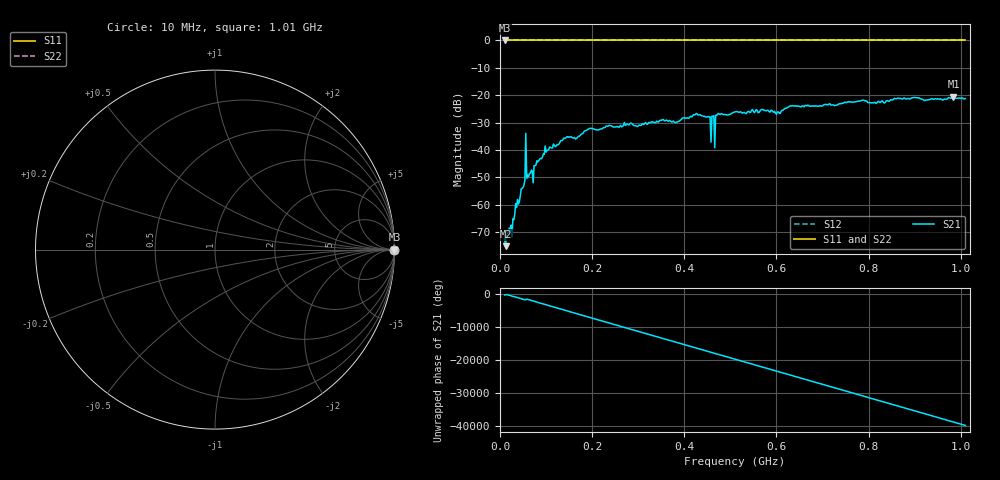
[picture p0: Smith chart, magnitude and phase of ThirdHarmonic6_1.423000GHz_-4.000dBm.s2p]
! 8/16/2025 4:22:06 PM
! C:\ANRITSUVNA\TEMP\TEMP.S2P
! CHANNEL.1
! TR.MEASUREMENT
! RAW.DATA
! RF.CORRECTION.OFF
! AVERAGING.OFF
! IF.BANDWIDTH: 5KHZ
! SWEEPTYPE:  FREQ.SWEEP(Linear)
! Reference Plane Port Info
! PORT:  PORT1  PORT2
! DISTANCE:  0  m  0  m
! TIME:  0  s  0  s
! PHASE.OFFSET:  0  deg.  0  deg.
! LOSS:  0  dB  0  dB
! REF.LOSS:  0  dB  0  dB
! REF.FREQ:  0  Hz  0  Hz
! Power Info
! POWER:  -20  dBm  -20  dBm
! EFF.POWER:  -20  dBm  -20  dBm
! SOURCE.ATTEN:  0  dB  0  dB
! TEST.ATTEN:  0  dB  0  dB
# GHZ S RI R 50.0
! FREQ.GHZ  S11RE  S11IM  S21RE  S21IM  S12RE  S12IM  S22RE  S22IM
!; PortSelection: Port_12
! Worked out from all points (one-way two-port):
!   501 points, 10 MHz to 1.01 GHz, reference 50 ohm
!   highest |S21| = -20.53 dB at 984 MHz (marker M1); lowest = -75.1 dB at 12 MHz (marker M2)
!   lowest |S11| = 0.0 dB at 10 MHz (marker M3)
!   |S11| at or under -10 dB: nowhere
!   |S22| runs from 0.0 to 0.0 dB; largest |S21 - S12| = 1.1
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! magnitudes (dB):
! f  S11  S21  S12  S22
! 10 MHz  0.0  -72.3  0.0  0.0
! 12 MHz  0.0  -75.1  0.0  0.0
! 26 MHz  0.0  -71.8  0.0  0.0
! 50 MHz  0.0  -53.7  0.0  0.0
! 52 MHz  0.0  -52.8  0.0  0.0
! 60 MHz  0.0  -49.1  0.0  0.0
! 62 MHz  0.0  -49.7  0.0  0.0
! 68 MHz  0.0  -47.3  0.0  0.0
! 102 MHz  0.0  -40.1  0.0  0.0
! 178 MHz  0.0  -34.1  0.0  0.0
! 344 MHz  0.0  -29.8  0.0  0.0
! 430 MHz  0.0  -27.2  0.0  0.0
! 452 MHz  0.0  -27.8  0.0  0.0
! 462 MHz  0.0  -27.7  0.0  0.0
! 472 MHz  0.0  -27.0  0.0  0.0
! 510 MHz  0.0  -26.1  0.0  0.0
! 604 MHz  0.0  -26.1  0.0  0.0
! 632 MHz  0.0  -23.9  0.0  0.0
! 678 MHz  0.0  -23.9  0.0  0.0
! 844 MHz  0.0  -22.2  0.0  0.0
! 984 MHz  0.0  -20.5  0.0  0.0
! 1.01 GHz  0.0  -21.2  0.0  0.0
